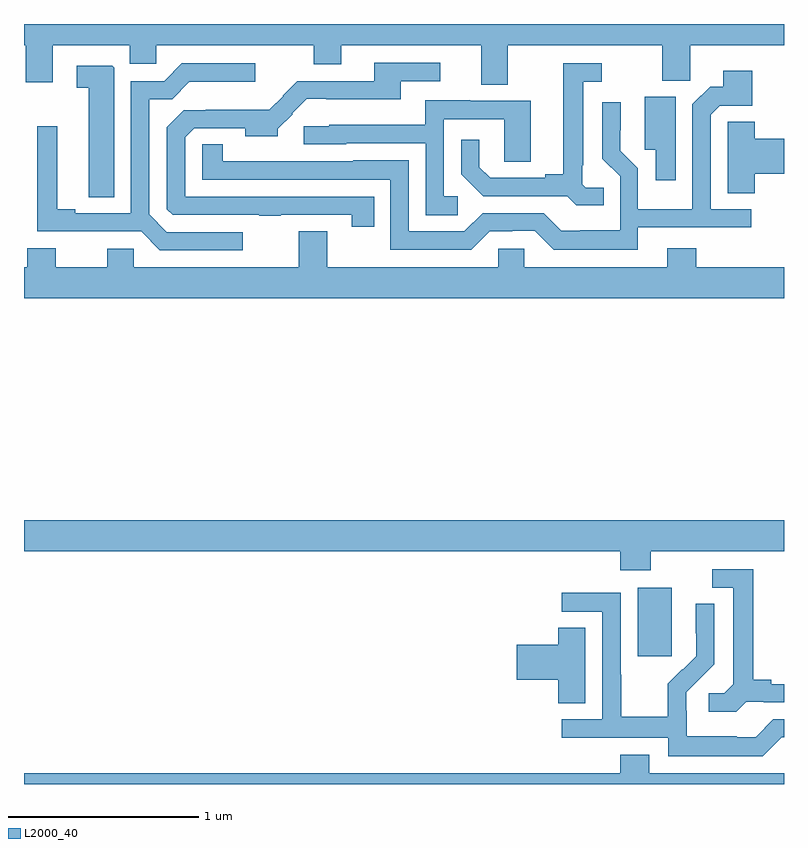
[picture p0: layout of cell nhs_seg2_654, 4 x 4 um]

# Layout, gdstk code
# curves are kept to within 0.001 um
import gdstk
lib = gdstk.Library(unit=1e-6, precision=1e-09)
def R(c, l, rs):  # rectangles x0, y0, x1, y1
    for r in rs: c.add(gdstk.rectangle(r[:2], r[2:], *l))
def P(c, l, *ps):  # polygons
    for p in ps: c.add(gdstk.Polygon(p, *l))
L2000_40 = (2000, 40)

nhs_seg2_654 = lib.new_cell('nhs_seg2_654')
R(nhs_seg2_654, L2000_40, [(148.229,592.473,148.408,592.834)])
P(nhs_seg2_654, L2000_40, [(147.547,595.688),(148.36,595.688),(148.36,595.501),(148.506,595.501),(148.506,595.688),(149,595.688),(149,595.8),(145,595.8),(145,595.688),(145.01,595.688),(145.01,595.494),(145.15,595.494),(145.15,595.688),(145.556,595.688),(145.556,595.59),(145.695,595.59),(145.695,595.688),(146.524,595.688),(146.524,595.589),(146.671,595.589),(146.671,595.688),(147.407,595.688),(147.407,595.48),(147.547,595.48)],
  [(146.843,594.891),(145.848,594.891),(145.848,595.203),(145.896,595.251),(146.165,595.251),(146.165,595.208),(146.336,595.208),(146.336,595.248),(146.415,595.326),(146.412,595.329),(146.489,595.406),(146.59,595.406),(146.59,595.403),(146.983,595.403),(146.983,595.5),(147.19,595.5),(147.19,595.596),(146.843,595.596),(146.843,595.5),(146.439,595.5),(146.363,595.423),(146.365,595.421),(146.291,595.348),(145.957,595.348),(145.957,595.346),(145.841,595.346),(145.752,595.257),(145.752,594.825),(145.782,594.795),(146.239,594.795),(146.239,594.79),(146.351,594.79),(146.351,594.795),(146.725,594.795),(146.725,594.732),(146.843,594.732)],
  [(148.052,594.939),(147.957,594.939),(147.939,594.957),(147.939,595.057),(147.943,595.057),(147.943,595.497),(148.042,595.497),(148.042,595.593),(147.839,595.593),(147.839,595.01),(147.743,595.01),(147.743,594.99),(147.454,594.99),(147.397,595.047),(147.397,595.192),(147.3,595.192),(147.3,595.01),(147.416,594.894),(147.858,594.894),(147.906,594.847),(148.052,594.847)],
  [(146.152,594.705),(145.752,594.705),(145.659,594.798),(145.659,595.405),(145.78,595.405),(145.871,595.496),(146.218,595.496),(146.218,595.593),(145.83,595.593),(145.737,595.5),(145.563,595.5),(145.563,594.804),(145.27,594.804),(145.27,594.824),(145.174,594.824),(145.174,595.261),(145.07,595.261),(145.07,594.708),(145.616,594.708),(145.715,594.609),(146.152,594.609)],
  [(145.474,595.571),(145.464,595.581),(145.278,595.581),(145.278,595.465),(145.34,595.465),(145.34,594.889),(145.474,594.889)],
  [(148.231,594.729),(148.828,594.729),(148.828,594.825),(148.614,594.825),(148.614,595.323),(148.662,595.371),(148.832,595.371),(148.832,595.555),(148.679,595.555),(148.679,595.47),(148.611,595.47),(148.518,595.377),(148.518,594.826),(148.23,594.826),(148.23,595.042),(148.139,595.134),(148.14,595.387),(148.044,595.387),(148.044,595.092),(148.137,594.999),(148.137,594.715),(147.928,594.715),(147.928,594.711),(147.828,594.711),(147.735,594.804),(147.414,594.804),(147.318,594.708),(147.024,594.708),(147.024,595.084),(146.733,595.084),(146.733,595.077),(146.047,595.078),(146.047,595.166),(145.938,595.166),(145.938,594.981),(146.928,594.981),(146.928,594.612),(147.354,594.612),(147.45,594.708),(147.57,594.708),(147.57,594.711),(147.687,594.711),(147.787,594.611),(148.231,594.611)],
  [(148.429,595.416),(148.268,595.416),(148.268,595.137),(148.325,595.137),(148.325,594.978),(148.429,594.978)],
  [(147.283,594.894),(147.21,594.894),(147.21,595.299),(147.528,595.299),(147.528,595.075),(147.667,595.075),(147.667,595.395),(147.349,595.395),(147.349,595.399),(147.113,595.399),(147.113,595.27),(146.607,595.27),(146.607,595.263),(146.472,595.263),(146.472,595.167),(146.697,595.167),(146.697,595.173),(147.114,595.173),(147.114,594.793),(147.283,594.793)],
  [(148.847,595.013),(149,595.013),(149,595.196),(148.847,595.196),(148.847,595.286),(148.704,595.286),(148.704,595.178),(148.703,595.178),(148.703,594.91),(148.847,594.91)],
  [(149,594.52),(148.538,594.52),(148.538,594.619),(148.385,594.619),(148.385,594.52),(147.633,594.52),(147.633,594.618),(147.495,594.618),(147.495,594.52),(146.595,594.52),(146.595,594.71),(146.447,594.71),(146.447,594.52),(145.578,594.52),(145.578,594.618),(145.439,594.618),(145.439,594.52),(145.168,594.52),(145.168,594.619),(145.016,594.619),(145.016,594.52),(145,594.52),(145,594.356),(149,594.356)],
  [(148.299,593.024),(149,593.024),(149,593.188),(145,593.188),(145,593.024),(148.139,593.024),(148.139,592.925),(148.299,592.925)],
  [(148.8,592.233),(148.894,592.233),(148.894,592.23),(149,592.23),(149,592.326),(148.933,592.326),(148.933,592.349),(148.837,592.349),(148.837,592.929),(148.623,592.929),(148.623,592.833),(148.733,592.833),(148.733,592.325),(148.686,592.278),(148.605,592.278),(148.605,592.181),(148.748,592.181)],
  [(148.989,592.047),(149,592.047),(149,592.14),(148.944,592.14),(148.851,592.047),(148.751,592.047),(148.751,592.051),(148.488,592.051),(148.488,592.185),(148.486,592.185),(148.486,592.282),(148.632,592.43),(148.632,592.748),(148.536,592.748),(148.536,592.594),(148.538,592.594),(148.538,592.472),(148.467,592.401),(148.464,592.404),(148.387,592.327),(148.387,592.153),(148.143,592.153),(148.143,592.376),(148.14,592.376),(148.14,592.806),(147.831,592.806),(147.831,592.707),(148.044,592.707),(148.044,592.14),(147.831,592.14),(147.831,592.044),(148.392,592.044),(148.392,591.947),(148.889,591.947)],
  [(147.955,592.622),(147.812,592.622),(147.812,592.532),(147.594,592.532),(147.594,592.349),(147.812,592.349),(147.812,592.225),(147.955,592.225)],
  [(149,591.856),(148.291,591.856),(148.291,591.955),(148.139,591.955),(148.139,591.856),(145,591.856),(145,591.8),(149,591.8)])

lib.write_gds('nhs_seg2_654.gds')
